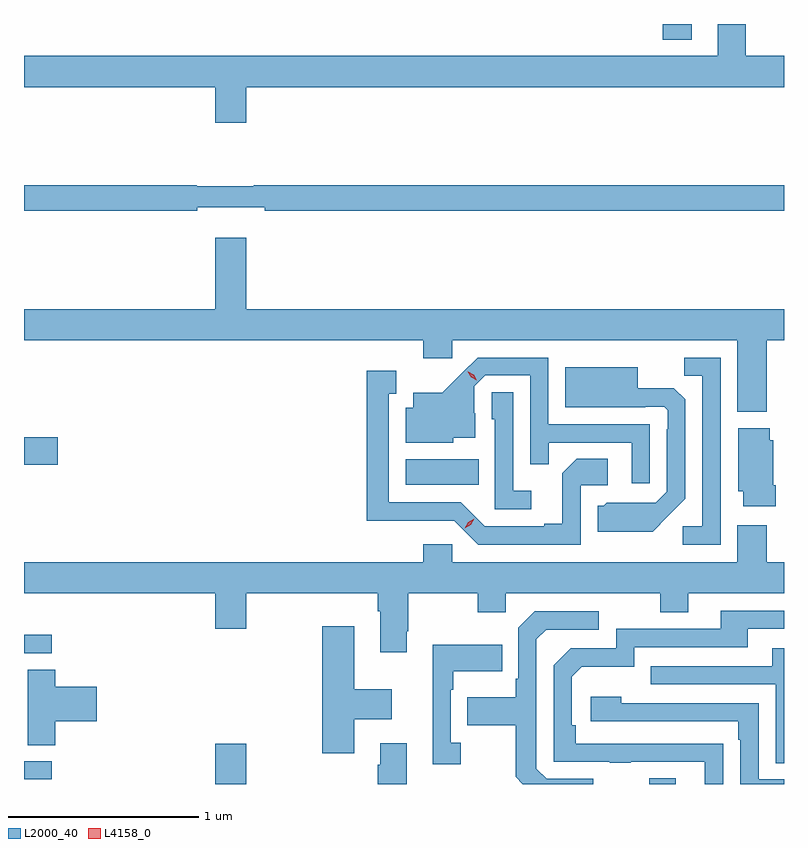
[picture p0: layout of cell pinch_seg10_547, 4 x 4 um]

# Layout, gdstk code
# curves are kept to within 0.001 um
import gdstk
lib = gdstk.Library(unit=1e-6, precision=1e-09)
def R(c, l, rs):  # rectangles x0, y0, x1, y1
    for r in rs: c.add(gdstk.rectangle(r[:2], r[2:], *l))
def P(c, l, *ps):  # polygons
    for p in ps: c.add(gdstk.Polygon(p, *l))
L2000_40 = (2000, 40)
L4158_0 = (4158, 0)

pinch_seg10_547 = lib.new_cell('pinch_seg10_547')
R(pinch_seg10_547, L2000_40, [(332.84,1284.66,333.004,1284.871), (335.123,1284.66,335.263,1284.691), (331.833,1284.684,331.978,1284.78), (331.833,1285.347,331.978,1285.446), (333.842,1286.234,334.226,1286.368), (331.833,1286.339,332.011,1286.486), (335.195,1288.578,335.347,1288.66)])
P(pinch_seg10_547, L2000_40, [(333.004,1288.328),(335.833,1288.328),(335.833,1288.492),(335.631,1288.492),(335.631,1288.66),(335.483,1288.66),(335.483,1288.492),(331.833,1288.492),(331.833,1288.328),(332.84,1288.328),(332.84,1288.14),(333.004,1288.14)],
  [(332.744,1287.695),(333.1,1287.695),(333.1,1287.676),(335.833,1287.676),(335.833,1287.812),(333.043,1287.812),(333.043,1287.805),(332.743,1287.805),(332.743,1287.812),(331.833,1287.812),(331.833,1287.676),(332.744,1287.676)],
  [(335.741,1286.996),(335.833,1286.996),(335.833,1287.16),(333.004,1287.16),(333.004,1287.535),(332.84,1287.535),(332.84,1287.16),(331.833,1287.16),(331.833,1286.996),(333.935,1286.996),(333.935,1286.901),(334.086,1286.901),(334.086,1286.996),(335.588,1286.996),(335.588,1286.618),(335.741,1286.618)],
  [(335.499,1286.904),(335.308,1286.904),(335.308,1286.809),(335.403,1286.809),(335.403,1286.016),(335.301,1286.016),(335.301,1285.92),(335.499,1285.92)],
  [(335.127,1286.553),(334.593,1286.553),(334.593,1286.904),(334.22,1286.904),(334.033,1286.719),(333.881,1286.719),(333.881,1286.641),(333.842,1286.641),(333.842,1286.456),(334.092,1286.456),(334.092,1286.483),(334.207,1286.483),(334.207,1286.612),(334.203,1286.612),(334.203,1286.754),(334.26,1286.811),(334.497,1286.811),(334.497,1286.344),(334.595,1286.344),(334.595,1286.457),(335.031,1286.457),(335.031,1286.244),(335.127,1286.244)],
  [(335.221,1286.069),(335.313,1286.162),(335.313,1286.684),(335.254,1286.743),(335.062,1286.743),(335.062,1286.854),(334.682,1286.854),(334.682,1286.642),(335.102,1286.642),(335.102,1286.646),(335.202,1286.646),(335.22,1286.628),(335.22,1286.528),(335.217,1286.528),(335.217,1286.199),(335.157,1286.139),(334.9,1286.14),(334.884,1286.124),(334.853,1286.124),(334.853,1285.988),(335.141,1285.988)],
  [(334.764,1286.232),(334.906,1286.232),(334.906,1286.372),(334.741,1286.372),(334.665,1286.296),(334.665,1286.029),(334.571,1286.029),(334.571,1286.016),(334.257,1286.016),(334.131,1286.142),(333.754,1286.142),(333.754,1286.715),(333.793,1286.715),(333.793,1286.836),(333.636,1286.836),(333.636,1286.045),(334.098,1286.046),(334.224,1285.92),(334.764,1285.92)],
  [(334.504,1286.203),(334.407,1286.203),(334.407,1286.723),(334.296,1286.723),(334.296,1286.58),(334.311,1286.58),(334.311,1286.106),(334.504,1286.106)],
  [(335.789,1286.233),(335.776,1286.233),(335.776,1286.469),(335.758,1286.469),(335.758,1286.533),(335.591,1286.533),(335.591,1286.202),(335.618,1286.202),(335.618,1286.121),(335.789,1286.121)],
  [(333.847,1285.465),(333.855,1285.465),(333.855,1285.664),(334.222,1285.664),(334.222,1285.565),(334.368,1285.565),(334.368,1285.664),(335.182,1285.664),(335.182,1285.565),(335.329,1285.565),(335.329,1285.664),(335.833,1285.664),(335.833,1285.828),(335.741,1285.828),(335.741,1286.023),(335.588,1286.023),(335.588,1285.828),(334.086,1285.828),(334.086,1285.921),(333.935,1285.921),(333.935,1285.828),(331.833,1285.828),(331.833,1285.664),(332.84,1285.664),(332.84,1285.476),(333.004,1285.476),(333.004,1285.664),(333.695,1285.664),(333.695,1285.568),(333.707,1285.568),(333.707,1285.353),(333.847,1285.353)],
  [(335.513,1284.872),(334.736,1284.873),(334.736,1284.97),(334.716,1284.97),(334.716,1285.224),(334.769,1285.277),(335.046,1285.277),(335.046,1285.38),(335.641,1285.38),(335.641,1285.476),(335.833,1285.476),(335.833,1285.572),(335.501,1285.572),(335.501,1285.476),(334.95,1285.476),(334.95,1285.374),(334.71,1285.374),(334.62,1285.284),(334.62,1284.777),(334.915,1284.777),(334.915,1284.772),(335.027,1284.772),(335.027,1284.777),(335.417,1284.777),(335.417,1284.66),(335.513,1284.66)],
  [(334.828,1284.687),(334.584,1284.687),(334.53,1284.741),(334.53,1285.422),(334.581,1285.473),(334.858,1285.473),(334.858,1285.569),(334.521,1285.569),(334.434,1285.482),(334.434,1285.213),(334.422,1285.213),(334.422,1285.117),(334.165,1285.117),(334.165,1284.97),(334.422,1284.97),(334.422,1284.697),(334.459,1284.66),(334.828,1284.66)],
  [(333.571,1285.001),(333.769,1285.001),(333.769,1285.159),(333.571,1285.159),(333.571,1285.489),(333.404,1285.489),(333.404,1284.822),(333.571,1284.822)],
  [(334.132,1284.878),(334.08,1284.878),(334.08,1285.157),(334.093,1285.157),(334.093,1285.253),(334.349,1285.253),(334.349,1285.393),(333.983,1285.393),(333.983,1284.765),(334.132,1284.765)],
  [(335.833,1285.375),(335.771,1285.375),(335.771,1285.281),(335.131,1285.281),(335.131,1285.185),(335.79,1285.185),(335.79,1284.769),(335.833,1284.769)],
  [(331.997,1284.989),(332.215,1284.989),(332.215,1285.172),(331.997,1285.172),(331.997,1285.262),(331.853,1285.262),(331.853,1284.865),(331.997,1284.865)],
  [(335.833,1284.684),(335.7,1284.684),(335.7,1285.086),(334.976,1285.086),(334.976,1285.12),(334.815,1285.12),(334.815,1284.99),(335.591,1284.99),(335.591,1284.893),(335.604,1284.893),(335.604,1284.66),(335.833,1284.66)],
  [(333.847,1284.874),(333.707,1284.874),(333.707,1284.761),(333.695,1284.761),(333.695,1284.66),(333.847,1284.66)])
P(pinch_seg10_547, L4158_0, [(334.217,1286.784),(334.186,1286.8),(334.169,1286.83),(334.169,1286.83),(334.17,1286.83),(334.2,1286.814),(334.217,1286.785),(334.217,1286.784)],
  [(334.153,1286.005),(334.153,1286.006),(334.171,1286.038),(334.203,1286.057),(334.203,1286.057),(334.203,1286.057),(334.185,1286.024),(334.153,1286.005)])

lib.write_gds('pinch_seg10_547.gds')
